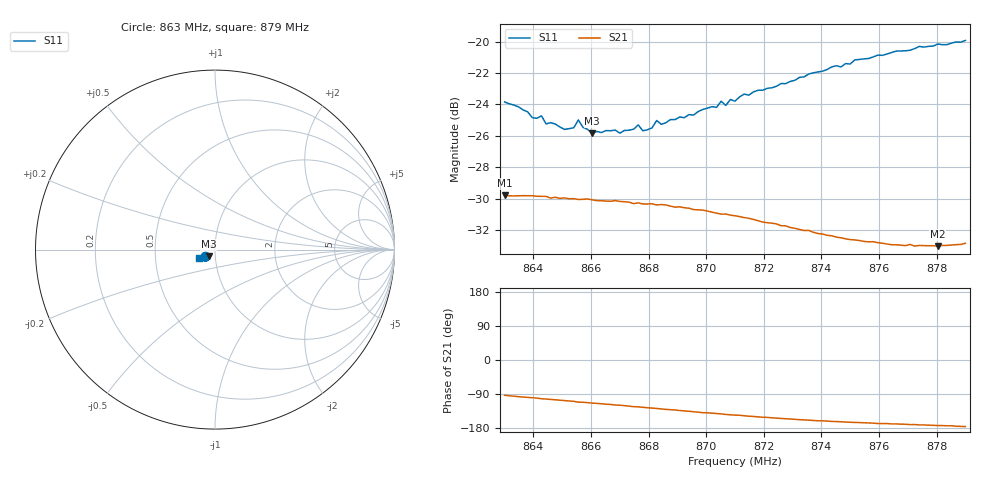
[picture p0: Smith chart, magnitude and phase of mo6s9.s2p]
# HZ S RI R 50
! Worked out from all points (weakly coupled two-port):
!   101 points, 863 MHz to 879 MHz, reference 50 ohm
!   highest |S21| = -29.79 dB at 863 MHz (marker M1); lowest = -33.0 dB at 878.04 MHz (marker M2)
!   lowest |S11| = -25.8 dB at 866.04 MHz (marker M3), VSWR 1.11, Z = 46.5 - j3.41 ohm
!   |S11| at or under -10 dB: start of sweep to end of sweep
!   S12 and S22 are empty: the file has one direction only
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8.63e8  -0.0532 -0.036  -0.0017 -0.0324  0 0  0 0
8.6396e8  -0.0458 -0.0344  -0.00541 -0.0318  0 0  0 0
8.6428e8  -0.0456 -0.0359  -0.00686 -0.0314  0 0  0 0
8.6444e8  -0.0436 -0.0331  -0.00721 -0.0313  0 0  0 0
8.6508e8  -0.0393 -0.0349  -0.00934 -0.0304  0 0  0 0
8.654e8  -0.0385 -0.0367  -0.0104 -0.0298  0 0  0 0
8.6556e8  -0.0429 -0.0365  -0.0113 -0.0293  0 0  0 0
8.6572e8  -0.0381 -0.0374  -0.0115 -0.0293  0 0  0 0
8.6604e8  -0.0355 -0.0366  -0.0126 -0.0287  0 0  0 0
8.67e8  -0.0323 -0.0396  -0.0152 -0.027  0 0  0 0
8.6764e8  -0.0331 -0.0431  -0.0169 -0.0255  0 0  0 0
8.678e8  -0.0307 -0.042  -0.0173 -0.025  0 0  0 0
8.6828e8  -0.0319 -0.0462  -0.0186 -0.0238  0 0  0 0
8.6844e8  -0.0303 -0.0453  -0.0191 -0.0234  0 0  0 0
8.7036e8  -0.0331 -0.0522  -0.0222 -0.0178  0 0  0 0
8.7052e8  -0.0345 -0.0546  -0.0223 -0.0173  0 0  0 0
8.7068e8  -0.0327 -0.0534  -0.0227 -0.0167  0 0  0 0
8.71e8  -0.0339 -0.055  -0.0229 -0.0158  0 0  0 0
8.7372e8  -0.0483 -0.0633  -0.0231 -0.00862  0 0  0 0
8.7644e8  -0.0711 -0.059  -0.0221 -0.00439  0 0  0 0
8.7804e8  -0.0842 -0.0509  -0.0221 -0.0027  0 0  0 0
8.79e8  -0.0907 -0.0445  -0.0227 -0.00172  0 0  0 0
